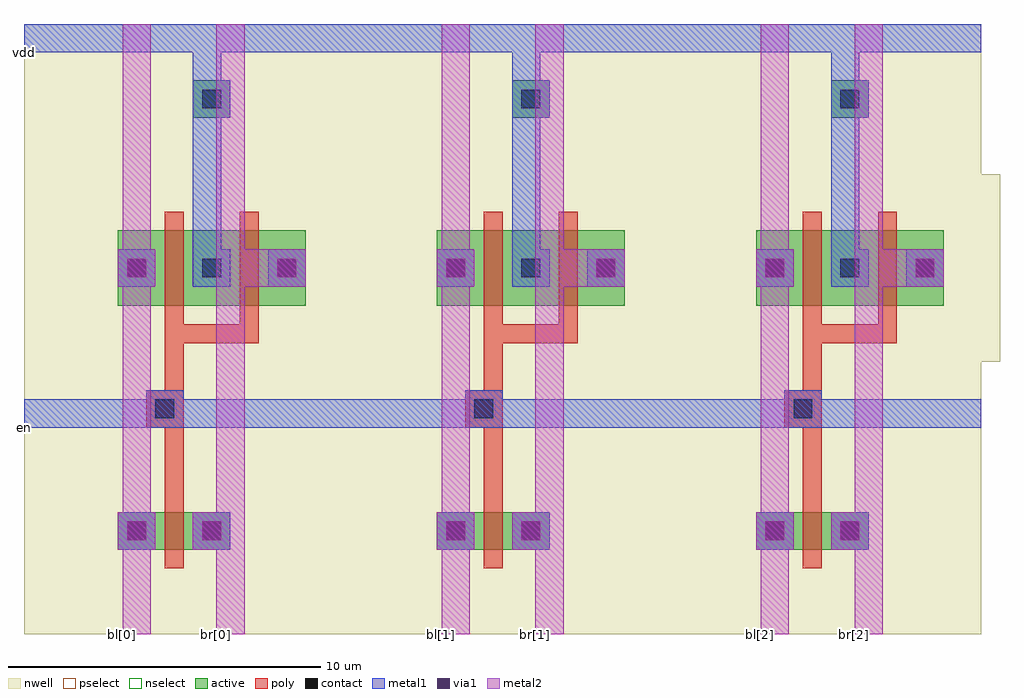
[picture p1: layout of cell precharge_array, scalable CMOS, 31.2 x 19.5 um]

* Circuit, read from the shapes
.subckt precharge_array bl[0] bl[1] bl[2] br[0] br[1] br[2] en vdd
M1 br[0] en bl[0] vdd pfet w=1.2u l=0.6u
M2 vdd en bl[0] vdd pfet w=2.4u l=0.6u
M3 br[0] en vdd vdd pfet w=2.4u l=0.6u
M4 br[1] en bl[1] vdd pfet w=1.2u l=0.6u
M5 vdd en bl[1] vdd pfet w=2.4u l=0.6u
M6 br[1] en vdd vdd pfet w=2.4u l=0.6u
M7 br[2] en bl[2] vdd pfet w=1.2u l=0.6u
M8 vdd en bl[2] vdd pfet w=2.4u l=0.6u
M9 br[2] en vdd vdd pfet w=2.4u l=0.6u
.ends

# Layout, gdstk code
from math import pi, radians
import gdstk
lib = gdstk.Library(unit=1e-6, precision=1e-09)
def R(c, l, rs):  # rectangles x0, y0, x1, y1
    for r in rs: c.add(gdstk.rectangle(r[:2], r[2:], *l))
contact = (25, 0)
nwell = (42, 0)
active = (43, 0)
pselect = (44, 0)
nselect = (45, 0)
poly = (46, 0)
metal1 = (49, 0)
via1 = (50, 0)
metal2 = (51, 0)

active_contact_metal1_1x = lib.new_cell('active_contact_metal1_1x1')
R(active_contact_metal1_1x, contact, [(0.3,0.3,0.9,0.9)])
R(active_contact_metal1_1x, active, [(0,0,1.2,1.2)])
R(active_contact_metal1_1x, metal1, [(0,0,1.2,1.2)])

pmos_m1_w1_2 = lib.new_cell('pmos_m1_w1_2')
R(pmos_m1_w1_2, nwell, [(0,0,7.2,4.8)])
R(pmos_m1_w1_2, active, [(1.8,1.8,5.4,3)])
R(pmos_m1_w1_2, pselect, [(1.8,1.8,5.4,3)])
R(pmos_m1_w1_2, poly, [(3.3,1.2,3.9,3.6)])
R(pmos_m1_w1_2, metal1, [(1.8,1.8,3,3), (4.2,1.8,5.4,3)])
pmos_m1_w1_2.add(gdstk.Reference(active_contact_metal1_1x, (1.8,1.8)))
pmos_m1_w1_2.add(gdstk.Reference(active_contact_metal1_1x, (4.2,1.8)))
pmos_m1_w1_2.add(gdstk.Label('S', (1.8,1.8), layer=49, texttype=0))
pmos_m1_w1_2.add(gdstk.Label('D', (4.2,1.8), layer=49, texttype=0))
pmos_m1_w1_2.add(gdstk.Label('G', (3.3,1.2), layer=46, texttype=0))

pmos_m1_w2_4 = lib.new_cell('pmos_m1_w2_4')
R(pmos_m1_w2_4, nwell, [(0,0,7.2,6)])
R(pmos_m1_w2_4, active, [(1.8,1.8,5.4,4.2)])
R(pmos_m1_w2_4, pselect, [(1.8,1.8,5.4,4.2)])
R(pmos_m1_w2_4, poly, [(3.3,1.2,3.9,4.8)])
R(pmos_m1_w2_4, metal1, [(1.8,2.4,3,3.6), (4.2,2.4,5.4,3.6)])
pmos_m1_w2_4.add(gdstk.Reference(active_contact_metal1_1x, (1.8,2.4)))
pmos_m1_w2_4.add(gdstk.Reference(active_contact_metal1_1x, (4.2,2.4)))
pmos_m1_w2_4.add(gdstk.Label('S', (1.8,2.4), layer=49, texttype=0))
pmos_m1_w2_4.add(gdstk.Label('D', (4.2,2.4), layer=49, texttype=0))
pmos_m1_w2_4.add(gdstk.Label('G', (3.3,1.2), layer=46, texttype=0))

poly_contact_metal1_1x1 = lib.new_cell('poly_contact_metal1_1x1')
R(poly_contact_metal1_1x1, contact, [(0.3,0.3,0.9,0.9)])
R(poly_contact_metal1_1x1, poly, [(0,0,1.2,1.2)])
R(poly_contact_metal1_1x1, metal1, [(0,0,1.2,1.2)])

metal1_via1_metal2_1x1 = lib.new_cell('metal1_via1_metal2_1x1')
R(metal1_via1_metal2_1x1, metal1, [(0,0,1.2,1.2)])
R(metal1_via1_metal2_1x1, via1, [(0.3,0.3,0.9,0.9)])
R(metal1_via1_metal2_1x1, metal2, [(0,0,1.2,1.2)])

precharge_cell = lib.new_cell('precharge_cell')
R(precharge_cell, nwell, [(0,0,10.2,19.5)])
R(precharge_cell, nselect, [(5.4,16.5,6.6,17.7)])
R(precharge_cell, poly, [(4.5,4.5,5.1,9.9), (4.5,9.3,7.5,9.9)])
R(precharge_cell, metal1, [(0,6.6,10.2,7.5), (5.4,11.1,6.3,19.5), (0,18.6,10.2,19.5)])
R(precharge_cell, metal2, [(3.15,0,4.05,19.5), (6.15,0,7.05,19.5), (3.45,2.7,3.6,3.9), (5.4,2.7,6.15,3.9), (3.45,11.1,3.6,12.3), (6.15,11.1,7.8,12.3)])
precharge_cell.add(gdstk.Reference(pmos_m1_w1_2, (1.2,0.9)))
precharge_cell.add(gdstk.Reference(pmos_m1_w2_4, (1.2,8.7)))
precharge_cell.add(gdstk.Reference(pmos_m1_w2_4, (3.6,8.7)))
precharge_cell.add(gdstk.Reference(poly_contact_metal1_1x1, (5.1,6.6), rotation=pi/2))
precharge_cell.add(gdstk.Reference(active_contact_metal1_1x, (5.4,16.5)))
precharge_cell.add(gdstk.Reference(metal1_via1_metal2_1x1, (3,11.1)))
precharge_cell.add(gdstk.Reference(metal1_via1_metal2_1x1, (7.8,11.1)))
precharge_cell.add(gdstk.Reference(metal1_via1_metal2_1x1, (3,2.7)))
precharge_cell.add(gdstk.Reference(metal1_via1_metal2_1x1, (5.4,2.7)))
precharge_cell.add(gdstk.Label('BL', (3.15,0), layer=51, texttype=0))
precharge_cell.add(gdstk.Label('vdd', (0,18.6), layer=49, texttype=0))
precharge_cell.add(gdstk.Label('BR', (6.15,0), layer=51, texttype=0))
precharge_cell.add(gdstk.Label('clk', (0,6.6), layer=49, texttype=0))

precharge_array = lib.new_cell('precharge_array')
R(precharge_array, metal1, [(0,6.6,30.6,7.5), (0,18.6,30.6,19.5)])
R(precharge_array, metal2, [(3.15,0,4.05,19.5), (6.15,0,7.05,19.5), (13.35,0,14.25,19.5), (16.35,0,17.25,19.5), (23.55,0,24.45,19.5), (26.55,0,27.45,19.5)])
precharge_array.add(gdstk.Reference(precharge_cell, (0,0)))
precharge_array.add(gdstk.Reference(precharge_cell, (10.2,0)))
precharge_array.add(gdstk.Reference(precharge_cell, (20.4,0)))
precharge_array.add(gdstk.Label('bl[1]', (13.35,0), layer=51, texttype=0))
precharge_array.add(gdstk.Label('en', (0,6.6), layer=49, texttype=0))
precharge_array.add(gdstk.Label('bl[0]', (3.15,0), layer=51, texttype=0))
precharge_array.add(gdstk.Label('br[2]', (26.55,0), layer=51, texttype=0))
precharge_array.add(gdstk.Label('bl[2]', (23.55,0), layer=51, texttype=0))
precharge_array.add(gdstk.Label('br[1]', (16.35,0), layer=51, texttype=0))
precharge_array.add(gdstk.Label('vdd', (0,18.6), layer=49, texttype=0))
precharge_array.add(gdstk.Label('br[0]', (6.15,0), layer=51, texttype=0))

lib.write_gds('precharge_array.gds')
